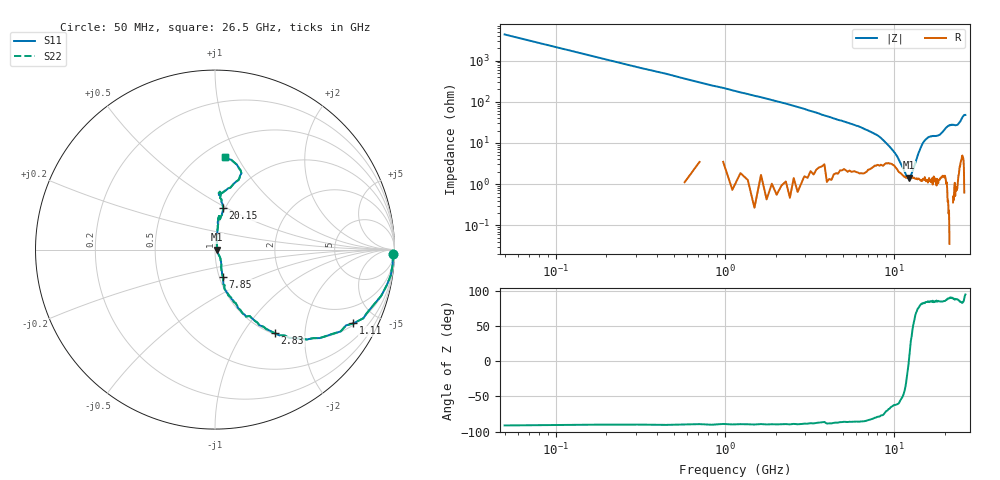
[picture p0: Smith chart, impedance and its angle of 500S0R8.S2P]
!  American Technical Ceramics  Date:  4/6/98
!  One Norden Lane
!  Huntington Station,  NY.  11746-2102
!  Tel:  (516) 547-5700  Fax:  (516) 547-5748
!  Part Number  500S0R8
!  Description: Broadband Microwave capacitor
!  Application:
# GHZ S DB R 50
! Freq  |S11|  S11 Ph  |S21|  S21 Ph  |S12|  S12 Ph  |S22|  S22 Ph
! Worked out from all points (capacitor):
!   201 points, 50 MHz to 26.5 GHz, reference 50 ohm
!   read as one part in series: C = 753 fF near 180 MHz
!   lowest |Z| = 1.43 ohm at 12.22 GHz (marker M1)
!   series resonance near 12.27 GHz, so ESL is about 220 pH
!   S11 on the Smith chart (normalised r, x): 50 MHz: 21, -69; 1.11 GHz: 1.07, -3.72; 2.83 GHz: 1.02, -1.41; 7.85 GHz: 1.04, -0.32; 20.15 GHz: 0.98, +0.48; 26.5 GHz: 0.63, +0.89
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0.05  -0.07 -1.5  -32.72 89.7  -32.72 89.7  -0.07 -1.5
0.18  -0.06 -4.8  -21.45 85.2  -21.45 85.2  -0.06 -4.8
0.31  -0.09 -8.3  -16.72 81.7  -16.72 81.7  -0.09 -8.3
0.58  -0.35 -15.7  -11.56 74.2  -11.56 74.2  -0.35 -15.7
1.11  -1.17 -28.0  -6.73 61.9  -6.73 61.9  -1.17 -28.0
2.83  -4.84 -54.4  -1.84 34.9  -1.84 34.9  -4.84 -54.4
4.55  -8.90 -67.7  -0.75 19.5  -0.75 19.5  -8.90 -67.7
7.85  -16.03 -74.1  -0.40 8.2  -0.40 8.2  -16.03 -74.1
8.91  -20.47 -68.2  -0.34 5.7  -0.34 5.7  -20.47 -68.2
10.23  -27.91 -55.1  -0.26 3.5  -0.26 3.5  -27.91 -55.1
11.56  -38.09 -33.9  -0.17 1.1  -0.17 1.1  -38.09 -33.9
12.22  -40.07 -2.4  -0.16 0.1  -0.16 0.1  -40.07 -2.4
13.28  -32.45 62.0  -0.15 -1.6  -0.15 -1.6  -32.45 62.0
14.07  -23.89 79.6  -0.18 -3.0  -0.18 -3.0  -23.89 79.6
14.99  -17.99 82.9  -0.25 -4.5  -0.25 -4.5  -17.99 82.9
16.05  -15.08 83.8  -0.33 -5.1  -0.33 -5.1  -15.08 83.8
17.77  -15.12 83.0  -0.30 -6.2  -0.30 -6.2  -15.12 83.0
20.15  -12.61 79.2  -0.52 -10.9  -0.52 -10.9  -12.61 79.2
22.14  -9.80 85.1  -0.87 -11.8  -0.87 -11.8  -9.80 85.1
24.12  -9.91 82.5  -1.08 -12.5  -1.08 -12.5  -9.91 82.5
25.71  -6.95 70.9  -1.67 -17.3  -1.67 -17.3  -6.95 70.9
26.5  -5.74 84.0  -2.08 -18.7  -2.08 -18.7  -5.74 84.0
